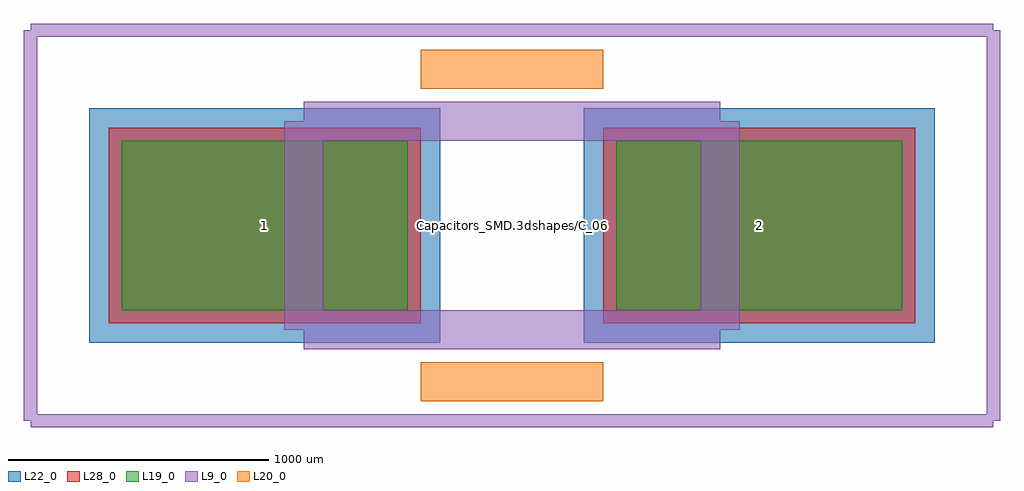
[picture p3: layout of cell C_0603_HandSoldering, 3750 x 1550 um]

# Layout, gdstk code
import gdstk
lib = gdstk.Library(unit=1e-6, precision=1e-09)
def R(c, l, rs):  # rectangles x0, y0, x1, y1
    for r in rs: c.add(gdstk.rectangle(r[:2], r[2:], *l))
L9_0 = (9, 0)
L19_0 = (19, 0)
L20_0 = (20, 0)
L22_0 = (22, 0)
L28_0 = (28, 0)

c_0603_handsoldering = lib.new_cell('C_0603_HandSoldering')
R(c_0603_handsoldering, L19_0, [(-1500,-325,-400,325), (400,-325,1500,325)])
R(c_0603_handsoldering, L22_0, [(-1625,-450,-275,450), (275,-450,1625,450)])
R(c_0603_handsoldering, L28_0, [(-1550,-375,-350,375), (350,-375,1550,375)])
c_0603_handsoldering.add(gdstk.FlexPath([(350,-600),(-350,-600)], 149.998, ends="flush", simple_path=True, layer=20, datatype=0))  # L20_0
c_0603_handsoldering.add(gdstk.FlexPath([(-350,600),(350,600)], 149.998, ends="flush", simple_path=True, layer=20, datatype=0))  # L20_0
c_0603_handsoldering.add(gdstk.FlexPath([(1850,750),(1850,-750)], 50, ends="flush", simple_path=True, layer=9, datatype=0))  # L9_0
c_0603_handsoldering.add(gdstk.FlexPath([(-1850,750),(-1850,-750)], 50, ends="flush", simple_path=True, layer=9, datatype=0))  # L9_0
c_0603_handsoldering.add(gdstk.FlexPath([(-1850,-750),(1850,-750)], 50, ends="flush", simple_path=True, layer=9, datatype=0))  # L9_0
c_0603_handsoldering.add(gdstk.FlexPath([(-1850,750),(1850,750)], 50, ends="flush", simple_path=True, layer=9, datatype=0))  # L9_0
c_0603_handsoldering.add(gdstk.FlexPath([(-800,400),(800,400)], 149.998, ends="flush", simple_path=True, layer=9, datatype=0))  # L9_0
c_0603_handsoldering.add(gdstk.FlexPath([(800,400),(800,-400)], 149.998, ends="flush", simple_path=True, layer=9, datatype=0))  # L9_0
c_0603_handsoldering.add(gdstk.FlexPath([(800,-400),(-800,-400)], 149.998, ends="flush", simple_path=True, layer=9, datatype=0))  # L9_0
c_0603_handsoldering.add(gdstk.FlexPath([(-800,-400),(-800,400)], 149.998, ends="flush", simple_path=True, layer=9, datatype=0))  # L9_0
c_0603_handsoldering.add(gdstk.Label('Capacitors_SMD.3dshapes/C_0603_HandSoldering.wrl', (0,0), layer=12, texttype=0))
c_0603_handsoldering.add(gdstk.Label('2', (950,0), layer=28, texttype=0))
c_0603_handsoldering.add(gdstk.Label('1', (-950,0), layer=28, texttype=0))
c_0603_handsoldering.add(gdstk.Label('type', (0,-1900), layer=9, texttype=0))
c_0603_handsoldering.add(gdstk.Label('devicename', (0,1900), layer=9, texttype=0))

lib.write_gds('C_0603_HandSoldering.gds')
